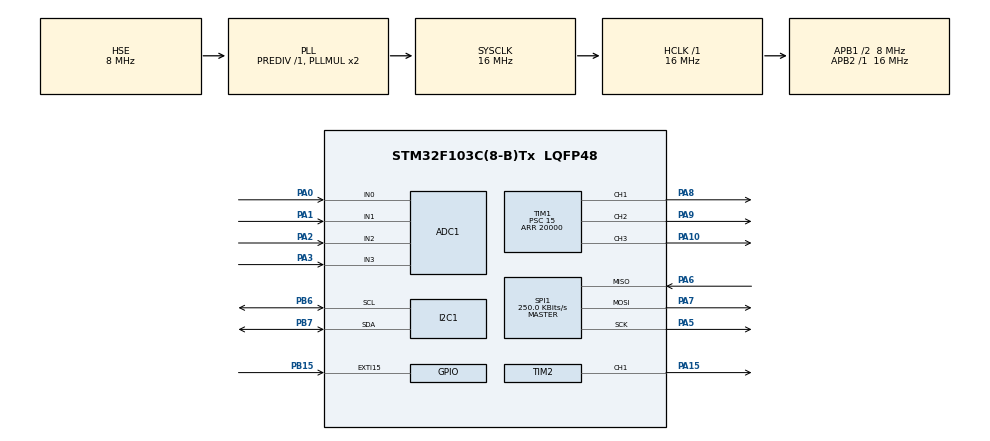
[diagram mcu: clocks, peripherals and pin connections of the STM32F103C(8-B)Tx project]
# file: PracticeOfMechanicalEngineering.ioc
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ADC1.Channel-0\#ChannelRegularConversion=ADC_CHANNEL_1
ADC1.NbrOfConversionFlag=1
ADC1.Rank-0\#ChannelRegularConversion=1
ADC1.SamplingTime-0\#ChannelRegularConversion=ADC_SAMPLETIME_1CYCLE_5
ADC1.master=1
I2C1.I2C_Mode=I2C_Fast
Mcu.Family=STM32F1
Mcu.Name=STM32F103C(8-B)Tx
Mcu.Package=LQFP48
NVIC.EXTI15_10_IRQn=true\:0\:0\:false\:false\:true\:true\:true\:true
NVIC.PriorityGroup=NVIC_PRIORITYGROUP_4
NVIC.SPI1_IRQn=true\:0\:0\:false\:false\:true\:true\:true\:true
NVIC.TIM3_IRQn=true\:0\:0\:false\:false\:true\:true\:true\:true
PA0-WKUP.Signal=ADCx_IN0
PA1.Signal=ADCx_IN1
PA10.Signal=S_TIM1_CH3
PA13.Mode=Serial_Wire
PA13.Signal=SYS_JTMS-SWDIO
PA14.Mode=Serial_Wire
PA14.Signal=SYS_JTCK-SWCLK
PA15.Signal=S_TIM2_CH1_ETR
PA2.Signal=ADCx_IN2
PA3.Signal=ADCx_IN3
PA5.Mode=Full_Duplex_Master
PA5.Signal=SPI1_SCK
PA6.Mode=Full_Duplex_Master
PA6.Signal=SPI1_MISO
PA7.Mode=Full_Duplex_Master
PA7.Signal=SPI1_MOSI
PA8.Signal=S_TIM1_CH1
PA9.Signal=S_TIM1_CH2
PB15.GPIO_ModeDefaultEXTI=GPIO_MODE_IT_RISING_FALLING
PB15.Signal=GPXTI15
PB6.Mode=I2C
PB6.Signal=I2C1_SCL
PB7.Mode=I2C
PB7.Signal=I2C1_SDA
PD0-OSC_IN.Mode=HSE-External-Oscillator
PD0-OSC_IN.Signal=RCC_OSC_IN
PD1-OSC_OUT.Mode=HSE-External-Oscillator
PD1-OSC_OUT.Signal=RCC_OSC_OUT
ProjectManager.HeapSize=0x200
ProjectManager.StackSize=0x400
ProjectManager.TargetToolchain=STM32CubeIDE
RCC.AHBFreq_Value=16000000
RCC.APB1CLKDivider=RCC_HCLK_DIV2
RCC.APB1Freq_Value=8000000
RCC.APB1TimFreq_Value=16000000
RCC.APB2Freq_Value=16000000
RCC.APB2TimFreq_Value=16000000
RCC.HCLKFreq_Value=16000000
RCC.PLLSourceVirtual=RCC_PLLSOURCE_HSE
RCC.SYSCLKFreq_VALUE=16000000
RCC.SYSCLKSource=RCC_SYSCLKSOURCE_PLLCLK
RCC.USBFreq_Value=16000000
SH.ADCx_IN0.0=ADC1_IN0,IN0
SH.ADCx_IN1.0=ADC1_IN1,IN1
SH.ADCx_IN2.0=ADC1_IN2,IN2
SH.ADCx_IN3.0=ADC1_IN3,IN3
SH.S_TIM1_CH1.0=TIM1_CH1,PWM Generation1 CH1
SH.S_TIM1_CH2.0=TIM1_CH2,PWM Generation2 CH2
SH.S_TIM1_CH3.0=TIM1_CH3,PWM Generation3 CH3
SH.S_TIM2_CH1_ETR.0=TIM2_CH1,PWM Generation1 CH1
SPI1.BaudRatePrescaler=SPI_BAUDRATEPRESCALER_64
SPI1.CalculateBaudRate=250.0 KBits/s
SPI1.DataSize=SPI_DATASIZE_8BIT
SPI1.Direction=SPI_DIRECTION_2LINES
SPI1.Mode=SPI_MODE_MASTER
SPI1.VirtualType=VM_MASTER
TIM1.Channel-PWM\ Generation1\ CH1=TIM_CHANNEL_1
TIM1.Channel-PWM\ Generation2\ CH2=TIM_CHANNEL_2
TIM1.Channel-PWM\ Generation3\ CH3=TIM_CHANNEL_3
TIM1.Period=20000
TIM1.Prescaler=15
TIM1.Pulse-PWM\ Generation1\ CH1=1000
TIM1.Pulse-PWM\ Generation2\ CH2=1000
TIM1.Pulse-PWM\ Generation3\ CH3=1000
TIM2.Channel-PWM\ Generation1\ CH1=TIM_CHANNEL_1
TIM2.Period=20000
TIM2.Prescaler=15
TIM2.Pulse-PWM\ Generation1\ CH1=1000
TIM3.Period=1000
TIM3.Prescaler=15
VP_TIM3_VS_ClockSourceINT.Mode=Internal
board=custom

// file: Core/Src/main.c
/* USER CODE BEGIN Header */
/**
 ******************************************************************************
 * @file           : main.c
 * @brief          : Main program body
 ******************************************************************************
 * @attention
 *
 * Copyright (c) 2022 STMicroelectronics.
 * All rights reserved.
 *
 * This software is licensed under terms that can be found in the LICENSE file
 * in the root directory of this software component.
 * If no LICENSE file comes with this software, it is provided AS-IS.
 *
 ******************************************************************************
 */
/* USER CODE END Header */
#include "main.h"

/* USER CODE BEGIN Includes */
#include "ftoa.h"
#include "math.h"
#include "fonts.h"
#include "ssd1306.h"
/* USER CODE END Includes */

/* USER CODE BEGIN PD */
// #define _USE_MATH_DEFINES
#define MIN_PULSE_LENGTH 20000 * 0.05 // Minimum pulse length : 1000µs
#define MAX_PULSE_LENGTH 20000 * 0.1  // Maximum pulse length : 2000µs
// #define CYCLE 46
#define UNIT_DISTANCE 102 / 155
#define R 5.5 / 2
#define REARTRACK 14.06
#define WHEELBASE 17.75

/* USER CODE END PD */

ADC_HandleTypeDef hadc1;

I2C_HandleTypeDef hi2c1;

SPI_HandleTypeDef hspi1;

TIM_HandleTypeDef htim1;
TIM_HandleTypeDef htim2;
TIM_HandleTypeDef htim3;

/* USER CODE BEGIN PV */
char buffer[5];
int value0 = -1; // ADC value 最右
int value1 = -1; // ADC value 右
int value2 = -1; // ADC value 左
int value3 = -1; // ADC value 最左
int position_encoderR = 0;
int statecode = 0b0000;
float disR;
float steering_degree;
int pulse_servo1 = 0; // Servo 1 PWM pulse
int pulse_servo2 = 0; // Servo 2 PWM pulse
int pulse_servo3 = 0; // Servo 3 PWM pulse
int pulse_BLDC = 0;   // PWM pulse
float degree_servo = 90;
int mode = 0; // ESC mode
float tmp = 0;
int timestart = 0;
int sec = 0;
int ms = 0;
int trigger = 0;
/* USER CODE END PV */

void SystemClock_Config(void);
static void MX_GPIO_Init(void);
static void MX_ADC1_Init(void);
static void MX_TIM1_Init(void);
static void MX_TIM2_Init(void);
static void MX_TIM3_Init(void);
static void MX_SPI1_Init(void);
static void MX_I2C1_Init(void);
/* USER CODE BEGIN PFP */
uint32_t Board_Get_ADCChannelValue(ADC_HandleTypeDef *hadc, uint32_t channel);
void HAL_TIM_PeriodElapsedCallback(TIM_HandleTypeDef *htim);
void HAL_GPIO_EXTI_Callback(uint16_t GPIO_Pin);
float distanceR();
float steeringDegree(float angle, int orientation);
static void writeServo(float angle);
static void setPower(float power);
static void brake();
static void unbrake();
static void TRS(); //微右轉
static void TRL(); //急右轉
static void TLS(); //微左轉
static void TLL(); //急左轉
static void DRS(); //微右飄
static void DRL(); //急右飄
static void DLS(); //微左飄
static void DLL(); //急左飄
static void waitBlack(int ch, float pw);
static void lineFollower(float operationTime, float power, int *tg);
static void lineFollowerBackward(float operationTime, float power, int *tg);
/* USER CODE END PFP */

int main(void)
{

  /* MCU Configuration--------------------------------------------------------*/

  /* Reset of all peripherals, Initializes the Flash interface and the Systick. */
  HAL_Init();

  /* USER CODE BEGIN Init */
  int tmp_time = sec;
  int tmp_dis = distanceR();
  int i = 1; // correct times
  int j = 1; // correct times
  int power_new = 0;
  pulse_servo1 = MIN_PULSE_LENGTH;
  pulse_servo2 = MIN_PULSE_LENGTH;
  pulse_servo3 = MIN_PULSE_LENGTH;
  pulse_BLDC = MIN_PULSE_LENGTH;
  /* USER CODE END Init */

  /* Configure the system clock */
  SystemClock_Config();

  /* Initialize all configured peripherals */
  MX_GPIO_Init();
  MX_ADC1_Init();
  MX_TIM1_Init();
  MX_TIM2_Init();
  MX_TIM3_Init();
  MX_SPI1_Init();
  MX_I2C1_Init();
  /* USER CODE BEGIN 2 */
  HAL_TIM_PWM_Start(&htim1, TIM_CHANNEL_1);                 // Servo 1
  HAL_TIM_PWM_Start(&htim1, TIM_CHANNEL_2);                 // Servo 2
  HAL_TIM_PWM_Start(&htim1, TIM_CHANNEL_3);                 // Servo 3
  HAL_TIM_PWM_Start(&htim2, TIM_CHANNEL_1);                 // 無刷馬達
  HAL_TIM_Base_Start_IT(&htim3);                            // 開啟中斷
  __HAL_TIM_SET_COMPARE(&htim2, TIM_CHANNEL_1, pulse_BLDC); // 無刷馬達下限轉速
  writeServo(90);
  brake();
  // unbrake();
  HAL_Delay(3000);
  SSD1306_Init();
  mode = 2;
  SSD1306_GotoXY(10, 10);                // goto 10, 10
  SSD1306_Puts("HELLO", &Font_11x18, 1); // print Hello
  SSD1306_GotoXY(10, 30);
  SSD1306_Puts("WORLD !!", &Font_11x18, 1);
  SSD1306_UpdateScreen();
  /* USER CODE END 2 */

  /* Infinite loop */
  /* USER CODE BEGIN WHILE */
  while (1)
  {
    switch (mode)
    {
    case 0:
      setPower(0);
      break;

    case 1:
      setPower(10);
      break;

    case 2:
      // 起步
      setPower(6);
      HAL_Delay(2000);

      // 第 1 段，轉彎至第一循跡線
      position_encoderR = 0;
      degree_servo = 77.5;
      writeServo(degree_servo); // 18.7-> 9.35 -> 14.035 -> 13.5 -> 12.5
      unbrake();
      SSD1306_Clear();
      while (steeringDegree(degree_servo, 1) < 90)
      {
      }
      SSD1306_Clear();
      ftoa(steeringDegree(degree_servo, 1), buffer, 2);
      SSD1306_GotoXY(0, 0);
      SSD1306_Puts(buffer, &Font_16x26, 1);
      SSD1306_UpdateScreen();

      // 第 4 段，第一段循跡
      lineFollower(4, 6, &trigger);
      trigger = 0;
      while (trigger < 1)
      {
        lineFollower(100, 25, &trigger); // 20度：25｜25度 小電池：31 大電池：32
      }

      // // 第 5 段，變換車道
      degree_servo = 60;
      writeServo(degree_servo + 1);
      pulse_servo2 = 500 + 2000 * degree_servo / 180;
      pulse_servo3 = 500 + 2000 * degree_servo / 180;
      __HAL_TIM_SET_COMPARE(&htim1, TIM_CHANNEL_2, pulse_servo2);
      __HAL_TIM_SET_COMPARE(&htim1, TIM_CHANNEL_3, pulse_servo3);
      setPower(28.5); // 大顆電池 20度：28.5 25度：37｜小顆電池 20度：24 25度：32.5｜加入調速-> 基準值24，上限45
      HAL_Delay(500);
      waitBlack(2, 28.5); // 大顆電池 20度：28.5 25度：37｜小顆電池 20度：24 25度：32.5｜加入調速-> 基準值24，上限45

      // 第 6 段，修正路徑 第 7 段，第二循跡線上坡
      writeServo(90);
      trigger = 0;
      tmp_time = sec;
      tmp_dis = distanceR();
      i = 1; // correct times
      j = 1; // correct times
      unbrake();
      SSD1306_Clear();
      while (trigger < 2)
      {
        lineFollower(100, 31, &trigger); // 大顆電池 20度：31 25度：38|小顆電池 20度：29 25度：35
        if (sec - tmp_time > 1)
        {
          tmp_time = sec;
          if (distanceR() - tmp_dis < 12)
          {
            setPower(31 + 2 * i); // 大顆電池 20度：31 25度：38|小顆電池 20度：29 25度：35
            power_new = 31 + 2 * i;
            i++;
          }
          if (distanceR() - tmp_dis > 30)
          {
            setPower(31 - 0.01 * j); // 大顆電池 20度：31 25度：38|小顆電池 20度：29 25度：35
            power_new = 31 + 2 * j;
            j++;
          }
          tmp_dis = distanceR();
        }
      }
      position_encoderR = 0;
      tmp_time = sec;
      tmp_dis = distanceR();
      i = 1; // correct times
      j = 1; // correct times
      SSD1306_Clear();
      while (position_encoderR < 30) //(20 / (102 / 155))？？？
      {
        itoa(position_encoderR, buffer, 10);
        SSD1306_GotoXY(0, 0);
        SSD1306_Puts(buffer, &Font_11x18, 1);
        SSD1306_UpdateScreen();
        if (sec - tmp_time > 1)
        {
          tmp_time = sec;
          if (distanceR() - tmp_dis < 12)
          {
            setPower(power_new + 2 * i);
            i++;
          }
          if (distanceR() - tmp_dis > 30)
          {
            setPower(power_new - 0.01 * j);
            j++;
          }
          tmp_dis = distanceR();
        }
      }
      // 第 8 段，第一停止區
      setPower(0);
      brake();
      HAL_Delay(1000);
      setPower(22.5); // 大電池 20度：22.5 25度：31|小電池 20度：21 25度：28
      HAL_Delay(2500);

      // 第 9 段，下坡循跡至第二停止區
      unbrake();
      sec = 0;
      tmp_time = sec;
      tmp_dis = distanceR();
      i = 1; // correct times
      j = 1; // correct times
      position_encoderR = 0;
      SSD1306_Clear();
      while (position_encoderR < 225 || sec < 6)
      {
        lineFollowerBackward(100, 22.5, &trigger); // 大電池 20度：22.5 25度：31|小電池 20度：22 25度：27.5
        itoa(position_encoderR, buffer, 10);
        SSD1306_GotoXY(0, 0);
        SSD1306_Puts(buffer, &Font_11x18, 1);
        SSD1306_UpdateScreen();
        if (sec - tmp_time > 1)
        {
          tmp_time = sec;
          if (distanceR() - tmp_dis < 25)
          {
            setPower(22.5 - 1 * i); // 大電池 20度：22.5 25度：31|小電池 20度：22 25度：27.5
            i++;
          }
          if (distanceR() - tmp_dis > 30)
          {
            setPower(22.5 + 0.1 * j); // 大電池 20度：22.5 25度：31|小電池 20度：22 25度：27.5
            j++;
          }
          tmp_dis = distanceR();
        }
      }
      // lineFollowerBackward(3, 20, &trigger); // 大電池 20度：22.5 25度：31|小電池 20度：22 25度：27.5
      position_encoderR = 0;
      SSD1306_Clear();
      while (position_encoderR < 40)
      {
        lineFollowerBackward(100, 0, &trigger);
        itoa(position_encoderR, buffer, 10);
        SSD1306_GotoXY(0, 0);
        SSD1306_Puts(buffer, &Font_11x18, 1);
        SSD1306_UpdateScreen();
      }
      brake();
      mode = 0;
      break;

    case 3: // 伺服測試
      writeServo(120);
      break;

    case 4: // 無刷測試
      HAL_Delay(3000);
      setPower(13);
      // BLDC_test();
      break;

    case 5: // 類比輸入
      HAL_ADC_Start(&hadc1);
      HAL_ADC_PollForConversion(&hadc1, 1);
      value0 = Board_Get_ADCChannelValue(&hadc1, 0);
      value1 = Board_Get_ADCChannelValue(&hadc1, 1);
      value2 = Board_Get_ADCChannelValue(&hadc1, 2);
      value3 = Board_Get_ADCChannelValue(&hadc1, 3);
      HAL_Delay(500);
      break;

    case 6: // Encoder
      //             CW --->
      // A          ¯|___|¯¯¯¯|___|¯¯¯¯
      // Interrupts  ^   ^    ^   ^
      // B          ¯¯¯|___|¯¯¯¯¯|___|¯
      // Interrupts    ^   ^     ^   ^
      //             CCW <---
      break;
    }

    /* USER CODE END WHILE */

  }
}

void SystemClock_Config(void)
{
  RCC_OscInitTypeDef RCC_OscInitStruct = {0};
  RCC_ClkInitTypeDef RCC_ClkInitStruct = {0};
  RCC_PeriphCLKInitTypeDef PeriphClkInit = {0};

  /** Initializes the RCC Oscillators according to the specified parameters
   * in the RCC_OscInitTypeDef structure.
   */
  RCC_OscInitStruct.OscillatorType = RCC_OSCILLATORTYPE_HSE;
  RCC_OscInitStruct.HSEState = RCC_HSE_ON;
  RCC_OscInitStruct.HSEPredivValue = RCC_HSE_PREDIV_DIV1;
  RCC_OscInitStruct.HSIState = RCC_HSI_ON;
  RCC_OscInitStruct.PLL.PLLState = RCC_PLL_ON;
  RCC_OscInitStruct.PLL.PLLSource = RCC_PLLSOURCE_HSE;
  RCC_OscInitStruct.PLL.PLLMUL = RCC_PLL_MUL2;
  if (HAL_RCC_OscConfig(&RCC_OscInitStruct) != HAL_OK)
  {
    Error_Handler();
  }

  /** Initializes the CPU, AHB and APB buses clocks
   */
  RCC_ClkInitStruct.ClockType = RCC_CLOCKTYPE_HCLK | RCC_CLOCKTYPE_SYSCLK | RCC_CLOCKTYPE_PCLK1 | RCC_CLOCKTYPE_PCLK2;
  RCC_ClkInitStruct.SYSCLKSource = RCC_SYSCLKSOURCE_PLLCLK;
  RCC_ClkInitStruct.AHBCLKDivider = RCC_SYSCLK_DIV1;
  RCC_ClkInitStruct.APB1CLKDivider = RCC_HCLK_DIV2;
  RCC_ClkInitStruct.APB2CLKDivider = RCC_HCLK_DIV1;

  if (HAL_RCC_ClockConfig(&RCC_ClkInitStruct, FLASH_LATENCY_0) != HAL_OK)
  {
    Error_Handler();
  }
  PeriphClkInit.PeriphClockSelection = RCC_PERIPHCLK_ADC;
  PeriphClkInit.AdcClockSelection = RCC_ADCPCLK2_DIV2;
  if (HAL_RCCEx_PeriphCLKConfig(&PeriphClkInit) != HAL_OK)
  {
    Error_Handler();
  }
}

static void MX_ADC1_Init(void)
{

  ADC_ChannelConfTypeDef sConfig = {0};

  /** Common config
   */
  hadc1.Instance = ADC1;
  hadc1.Init.ScanConvMode = ADC_SCAN_DISABLE;
  hadc1.Init.ContinuousConvMode = DISABLE;
  hadc1.Init.DiscontinuousConvMode = DISABLE;
  hadc1.Init.ExternalTrigConv = ADC_SOFTWARE_START;
  hadc1.Init.DataAlign = ADC_DATAALIGN_RIGHT;
  hadc1.Init.NbrOfConversion = 1;
  if (HAL_ADC_Init(&hadc1) != HAL_OK)
  {
    Error_Handler();
  }

  /** Configure Regular Channel
   */
  sConfig.Channel = ADC_CHANNEL_1;
  sConfig.Rank = ADC_REGULAR_RANK_1;
  sConfig.SamplingTime = ADC_SAMPLETIME_1CYCLE_5;
  if (HAL_ADC_ConfigChannel(&hadc1, &sConfig) != HAL_OK)
  {
    Error_Handler();
  }
  /* USER CODE BEGIN ADC1_Init 2 */

  /**Common config
   */
  hadc1.Instance = ADC1;
  //  hadc1.Init.ClockPrescaler = ADC_CLOCK_ASYNC_DIV8;
  hadc1.Init.ScanConvMode = ADC_SCAN_DISABLE; //扫描（多通道）模式=ENABLE、单次（单通道）模式=DISABLE 因为同时只采集一个通道 所以设置为DISABLE
                                              //  hadc1.Init.EOCSelection = ADC_EOC_SINGLE_CONV;
                                              //  hadc1.Init.LowPowerAutoWait = DISABLE;
  hadc1.Init.ContinuousConvMode = DISABLE;    //连续=ENABLE、单次=DISABLE
  hadc1.Init.NbrOfConversion = 1;
  hadc1.Init.DiscontinuousConvMode = DISABLE;
  hadc1.Init.NbrOfDiscConversion = 1;
  hadc1.Init.ExternalTrigConv = ADC_SOFTWARE_START;
  //  hadc1.Init.ExternalTrigConvEdge = ADC_EXTERNALTRIGCONVEDGE_NONE;
  //  hadc1.Init.ConversionDataManagement = ADC_CONVERSIONDATA_DR;
  //  hadc1.Init.Overrun = ADC_OVR_DATA_OVERWRITTEN;
  //  hadc1.Init.LeftBitShift = ADC_LEFTBITSHIFT_NONE;
  //  hadc1.Init.BoostMode = DISABLE;
  //  hadc1.Init.OversamplingMode = DISABLE;
  if (HAL_ADC_Init(&hadc1) != HAL_OK)
  {
    Error_Handler();
  }

  /**Configure Regular Channel
   */
  sConfig.Channel = ADC_CHANNEL_1;
  sConfig.Rank = ADC_REGULAR_RANK_1;
  sConfig.SamplingTime = ADC_SAMPLETIME_1CYCLE_5;
  //  sConfig.SingleDiff = ADC_SINGLE_ENDED;
  //  sConfig.OffsetNumber = ADC_OFFSET_NONE;
  //  sConfig.Offset = 0;
  if (HAL_ADC_ConfigChannel(&hadc1, &sConfig) != HAL_OK)
  {
    Error_Handler();
  }
  /* USER CODE END ADC1_Init 2 */
}

static void MX_I2C1_Init(void)
{

  hi2c1.Instance = I2C1;
  hi2c1.Init.ClockSpeed = 400000;
  hi2c1.Init.DutyCycle = I2C_DUTYCYCLE_2;
  hi2c1.Init.OwnAddress1 = 0;
  hi2c1.Init.AddressingMode = I2C_ADDRESSINGMODE_7BIT;
  hi2c1.Init.DualAddressMode = I2C_DUALADDRESS_DISABLE;
  hi2c1.Init.OwnAddress2 = 0;
  hi2c1.Init.GeneralCallMode = I2C_GENERALCALL_DISABLE;
  hi2c1.Init.NoStretchMode = I2C_NOSTRETCH_DISABLE;
  if (HAL_I2C_Init(&hi2c1) != HAL_OK)
  {
    Error_Handler();
  }
}

static void MX_SPI1_Init(void)
{

  /* SPI1 parameter configuration*/
  hspi1.Instance = SPI1;
  hspi1.Init.Mode = SPI_MODE_MASTER;
  hspi1.Init.Direction = SPI_DIRECTION_2LINES;
  hspi1.Init.DataSize = SPI_DATASIZE_8BIT;
  hspi1.Init.CLKPolarity = SPI_POLARITY_LOW;
  hspi1.Init.CLKPhase = SPI_PHASE_1EDGE;
  hspi1.Init.NSS = SPI_NSS_SOFT;
  hspi1.Init.BaudRatePrescaler = SPI_BAUDRATEPRESCALER_64;
  hspi1.Init.FirstBit = SPI_FIRSTBIT_MSB;
  hspi1.Init.TIMode = SPI_TIMODE_DISABLE;
  hspi1.Init.CRCCalculation = SPI_CRCCALCULATION_DISABLE;
  hspi1.Init.CRCPolynomial = 10;
  if (HAL_SPI_Init(&hspi1) != HAL_OK)
  {
    Error_Handler();
  }
}

static void MX_TIM1_Init(void)
{

  TIM_MasterConfigTypeDef sMasterConfig = {0};
  TIM_OC_InitTypeDef sConfigOC = {0};
  TIM_BreakDeadTimeConfigTypeDef sBreakDeadTimeConfig = {0};

  htim1.Instance = TIM1;
  htim1.Init.Prescaler = 15;
  htim1.Init.CounterMode = TIM_COUNTERMODE_UP;
  htim1.Init.Period = 20000;
  htim1.Init.ClockDivision = TIM_CLOCKDIVISION_DIV1;
  htim1.Init.RepetitionCounter = 0;
  htim1.Init.AutoReloadPreload = TIM_AUTORELOAD_PRELOAD_DISABLE;
  if (HAL_TIM_PWM_Init(&htim1) != HAL_OK)
  {
    Error_Handler();
  }
  sMasterConfig.MasterOutputTrigger = TIM_TRGO_RESET;
  sMasterConfig.MasterSlaveMode = TIM_MASTERSLAVEMODE_DISABLE;
  if (HAL_TIMEx_MasterConfigSynchronization(&htim1, &sMasterConfig) != HAL_OK)
  {
    Error_Handler();
  }
  sConfigOC.OCMode = TIM_OCMODE_PWM1;
  sConfigOC.Pulse = 1000;
  sConfigOC.OCPolarity = TIM_OCPOLARITY_HIGH;
  sConfigOC.OCNPolarity = TIM_OCNPOLARITY_HIGH;
  sConfigOC.OCFastMode = TIM_OCFAST_DISABLE;
  sConfigOC.OCIdleState = TIM_OCIDLESTATE_RESET;
  sConfigOC.OCNIdleState = TIM_OCNIDLESTATE_RESET;
  if (HAL_TIM_PWM_ConfigChannel(&htim1, &sConfigOC, TIM_CHANNEL_1) != HAL_OK)
  {
    Error_Handler();
  }
  if (HAL_TIM_PWM_ConfigChannel(&htim1, &sConfigOC, TIM_CHANNEL_2) != HAL_OK)
  {
    Error_Handler();
  }
  if (HAL_TIM_PWM_ConfigChannel(&htim1, &sConfigOC, TIM_CHANNEL_3) != HAL_OK)
  {
    Error_Handler();
  }
  sBreakDeadTimeConfig.OffStateRunMode = TIM_OSSR_DISABLE;
  sBreakDeadTimeConfig.OffStateIDLEMode = TIM_OSSI_DISABLE;
  sBreakDeadTimeConfig.LockLevel = TIM_LOCKLEVEL_OFF;
  sBreakDeadTimeConfig.DeadTime = 0;
  sBreakDeadTimeConfig.BreakState = TIM_BREAK_DISABLE;
  sBreakDeadTimeConfig.BreakPolarity = TIM_BREAKPOLARITY_HIGH;
  sBreakDeadTimeConfig.AutomaticOutput = TIM_AUTOMATICOUTPUT_DISABLE;
  if (HAL_TIMEx_ConfigBreakDeadTime(&htim1, &sBreakDeadTimeConfig) != HAL_OK)
  {
    Error_Handler();
  }
  HAL_TIM_MspPostInit(&htim1);
}

static void MX_TIM2_Init(void)
{

  TIM_MasterConfigTypeDef sMasterConfig = {0};
  TIM_OC_InitTypeDef sConfigOC = {0};

  htim2.Instance = TIM2;
  htim2.Init.Prescaler = 15;
  htim2.Init.CounterMode = TIM_COUNTERMODE_UP;
  htim2.Init.Period = 20000;
  htim2.Init.ClockDivision = TIM_CLOCKDIVISION_DIV1;
  htim2.Init.AutoReloadPreload = TIM_AUTORELOAD_PRELOAD_DISABLE;
  if (HAL_TIM_PWM_Init(&htim2) != HAL_OK)
  {
    Error_Handler();
  }
  sMasterConfig.MasterOutputTrigger = TIM_TRGO_RESET;
  sMasterConfig.MasterSlaveMode = TIM_MASTERSLAVEMODE_DISABLE;
  if (HAL_TIMEx_MasterConfigSynchronization(&htim2, &sMasterConfig) != HAL_OK)
  {
    Error_Handler();
  }
  sConfigOC.OCMode = TIM_OCMODE_PWM1;
  sConfigOC.Pulse = 1000;
  sConfigOC.OCPolarity = TIM_OCPOLARITY_HIGH;
  sConfigOC.OCFastMode = TIM_OCFAST_DISABLE;
  if (HAL_TIM_PWM_ConfigChannel(&htim2, &sConfigOC, TIM_CHANNEL_1) != HAL_OK)
  {
    Error_Handler();
  }
  HAL_TIM_MspPostInit(&htim2);
}

static void MX_TIM3_Init(void)
{

  TIM_ClockConfigTypeDef sClockSourceConfig = {0};
  TIM_MasterConfigTypeDef sMasterConfig = {0};

  /* USER CODE BEGIN TIM3_Init 1 */

  htim3.Instance = TIM3;
  /* USER CODE END TIM3_Init 1 */
  htim3.Instance = TIM3;
  htim3.Init.Prescaler = 15;
  htim3.Init.CounterMode = TIM_COUNTERMODE_UP;
  htim3.Init.Period = 1000;
  htim3.Init.ClockDivision = TIM_CLOCKDIVISION_DIV1;
  htim3.Init.AutoReloadPreload = TIM_AUTORELOAD_PRELOAD_DISABLE;
  if (HAL_TIM_Base_Init(&htim3) != HAL_OK)
  {
    Error_Handler();
  }
  sClockSourceConfig.ClockSource = TIM_CLOCKSOURCE_INTERNAL;
  if (HAL_TIM_ConfigClockSource(&htim3, &sClockSourceConfig) != HAL_OK)
  {
    Error_Handler();
  }
  sMasterConfig.MasterOutputTrigger = TIM_TRGO_RESET;
  sMasterConfig.MasterSlaveMode = TIM_MASTERSLAVEMODE_DISABLE;
  if (HAL_TIMEx_MasterConfigSynchronization(&htim3, &sMasterConfig) != HAL_OK)
  {
    Error_Handler();
  }
}

static void MX_GPIO_Init(void)
{
  GPIO_InitTypeDef GPIO_InitStruct = {0};

  /* GPIO Ports Clock Enable */
  __HAL_RCC_GPIOD_CLK_ENABLE();
  __HAL_RCC_GPIOA_CLK_ENABLE();
  __HAL_RCC_GPIOB_CLK_ENABLE();

  /*Configure GPIO pin : PB15 */
  GPIO_InitStruct.Pin = GPIO_PIN_15;
  GPIO_InitStruct.Mode = GPIO_MODE_IT_RISING_FALLING;
  GPIO_InitStruct.Pull = GPIO_NOPULL;
  HAL_GPIO_Init(GPIOB, &GPIO_InitStruct);

  /* EXTI interrupt init*/
  HAL_NVIC_SetPriority(EXTI15_10_IRQn, 0, 0);
  HAL_NVIC_EnableIRQ(EXTI15_10_IRQn);
}

/* USER CODE BEGIN 4 */
uint32_t Board_Get_ADCChannelValue(ADC_HandleTypeDef *hadc, uint32_t channel)
{
  ADC_ChannelConfTypeDef ADC_ChanConf;

  ADC_ChanConf.Channel = channel;
  ADC_ChanConf.Rank = ADC_REGULAR_RANK_1;
  ADC_ChanConf.SamplingTime = ADC_SAMPLETIME_1CYCLE_5;
  //    ADC_ChanConf.SingleDiff = ADC_SINGLE_ENDED;
  //    ADC_ChanConf.OffsetNumber = ADC_OFFSET_NONE;
  //    ADC_ChanConf.Offset = 0;

  HAL_ADC_ConfigChannel(hadc, &ADC_ChanConf);

  HAL_ADC_Start(hadc);
  HAL_ADC_PollForConversion(hadc, 10); //轮询转换
  return (uint16_t)HAL_ADC_GetValue(hadc);
}

void HAL_TIM_PeriodElapsedCallback(TIM_HandleTypeDef *htim)
{
  if (htim->Instance == TIM3)
  {
    ms++;
    if (ms == 1000)
    {
      ms = 0;
      sec++;
    }
  }
}

void HAL_GPIO_EXTI_Callback(uint16_t GPIO_Pin)
{
  position_encoderR++;
}

float distanceR()
{
  // disR = position_encoderR / CYCLE * 2 * M_PI * R;
  disR = position_encoderR * UNIT_DISTANCE;
  return disR;
}

float steeringDegree(float angle, int orientation)
{
  float result;
  if (orientation == 1) //左轉
  {
    angle = 90 - angle + 5;
    result = (distanceR() / (WHEELBASE / tan(angle * M_PI / 180) + 7.03)) / M_PI * 180;
  }
  if (orientation == 0) //右
  {
    angle = angle - 90;
    result = (distanceR() / (WHEELBASE / tan(angle * M_PI / 180) - 7.03)) / M_PI * 180;
  }

  return result;
}

static void writeServo(float angle)
{
  pulse_servo1 = 500 + 2000 * angle / 180;
  __HAL_TIM_SET_COMPARE(&htim1, TIM_CHANNEL_1, pulse_servo1);
}

static void setPower(float power)
{
  if (power < 55)
  {
    pulse_BLDC = (MAX_PULSE_LENGTH - MIN_PULSE_LENGTH) * power / 100 + MIN_PULSE_LENGTH;
    __HAL_TIM_SET_COMPARE(&htim2, TIM_CHANNEL_1, pulse_BLDC);
  }
  else
  {
    (MAX_PULSE_LENGTH - MIN_PULSE_LENGTH) * 40 / 100 + MIN_PULSE_LENGTH;
    __HAL_TIM_SET_COMPARE(&htim2, TIM_CHANNEL_1, pulse_BLDC);
  }
}

static void brake()
{
  pulse_servo2 = 500 + 2000 * (180 - 45) / 180;
  pulse_servo3 = 500 + 2000 * 45 / 180;
  __HAL_TIM_SET_COMPARE(&htim1, TIM_CHANNEL_2, pulse_servo2);
  __HAL_TIM_SET_COMPARE(&htim1, TIM_CHANNEL_3, pulse_servo3);
}

static void unbrake()
{
  pulse_servo2 = 500 + 2000 * 90 / 180;
  pulse_servo3 = 500 + 2000 * 90 / 180;
  __HAL_TIM_SET_COMPARE(&htim1, TIM_CHANNEL_2, pulse_servo2);
  __HAL_TIM_SET_COMPARE(&htim1, TIM_CHANNEL_3, pulse_servo3);
}

static void TRS(void) //微右轉
{
  writeServo(105); // 112.5
}

static void TRL(void) //急右轉
{
  writeServo(112.5); // 135
}

static void TLS(void) //微左轉
{
  writeServo(75); // 67.5
}

static void TLL(void) //急左轉
{
  writeServo(67.5); // 45
}

static void DRS(void) //微右飄
{
  pulse_servo2 = 500 + 2000 * 100 / 180;
  pulse_servo3 = pulse_servo2;
  __HAL_TIM_SET_COMPARE(&htim1, TIM_CHANNEL_2, pulse_servo2);
  __HAL_TIM_SET_COMPARE(&htim1, TIM_CHANNEL_3, pulse_servo3);
  writeServo(100);
}

static void DRL(void) //急右飄
{
  pulse_servo2 = 500 + 2000 * 105 / 180;
  pulse_servo3 = pulse_servo2;
  __HAL_TIM_SET_COMPARE(&htim1, TIM_CHANNEL_2, pulse_servo2);
  __HAL_TIM_SET_COMPARE(&htim1, TIM_CHANNEL_3, pulse_servo3);
  writeServo(105);
}

static void DLS(void) //微左飄
{
  pulse_servo2 = 500 + 2000 * 80 / 180;
  pulse_servo3 = pulse_servo2;
  __HAL_TIM_SET_COMPARE(&htim1, TIM_CHANNEL_2, pulse_servo2);
  __HAL_TIM_SET_COMPARE(&htim1, TIM_CHANNEL_3, pulse_servo3);
  writeServo(80);
}

static void DLL(void) //急左飄
{
  pulse_servo2 = 500 + 2000 * 75 / 180;
  pulse_servo3 = pulse_servo2;
  __HAL_TIM_SET_COMPARE(&htim1, TIM_CHANNEL_2, pulse_servo2);
  __HAL_TIM_SET_COMPARE(&htim1, TIM_CHANNEL_3, pulse_servo3);
  writeServo(75);
}

static void waitBlack(int ch, float pw)
{
  int tmp_time = sec;
  int tmp_dis = distanceR();
  int i = 1; // correct times
  int j = 1; // correct times
  HAL_ADC_Start(&hadc1);
  HAL_ADC_PollForConversion(&hadc1, 1);
  int value = Board_Get_ADCChannelValue(&hadc1, ch);
  while (value < 1000) //變成白色之前狀態不變
  {
    HAL_ADC_Start(&hadc1);
    HAL_ADC_PollForConversion(&hadc1, 1);
    value = Board_Get_ADCChannelValue(&hadc1, ch);
    if (sec - tmp_time > 1)
    {
      tmp_time = sec;
      if (distanceR() - tmp_dis < 12)
      {
        setPower(pw + 2 * i);
        i++;
      }
      if (distanceR() - tmp_dis > 30)
      {
        setPower(pw - 0.01 * j);
        j++;
      }
      tmp_dis = distanceR();
    }
  }
}

static void lineFollower(float operationTime, float power, int *tg)
{
  setPower(power);
  if (operationTime != 100)
  {
    sec = 0;
  }
  while (sec <= operationTime)
  {
    statecode = 0;
    HAL_ADC_Start(&hadc1);
    HAL_ADC_PollForConversion(&hadc1, 1);
    value0 = Board_Get_ADCChannelValue(&hadc1, 0);
    value1 = Board_Get_ADCChannelValue(&hadc1, 1);
    value2 = Board_Get_ADCChannelValue(&hadc1, 2);
    value3 = Board_Get_ADCChannelValue(&hadc1, 3);

    if (value0 > 1000)
      statecode = statecode | 0b0001; // 8
    if (value1 > 1000)
      statecode = statecode | 0b0010; // 4
    if (value2 > 1000)
      statecode = statecode | 0b0100; // 2
    if (value3 > 1000)
      statecode = statecode | 0b1000; // 1

    tmp = (statecode & 0b1000) >> 3;
    tmp += (statecode & 0b0100) >> 2;
    tmp += (statecode & 0b0010) >> 1;
    tmp += (statecode & 0b0001);
    if (tmp > 2)
    {
      statecode = 0b1111;
    }

    switch (statecode)
    {
    case 0b1000:
      TLL(); //急左轉
      break;
    case 0b0100:
      TLS(); //微左轉
      break;
    case 0b0010:
      TRS(); //微右轉
      break;
    case 0b0001:
      TRL(); //急右轉
      break;
    case 0b0000:
      writeServo(90);
      break;
    case 0b1111:
      writeServo(90);
      while (tmp > 1) //變成白色之前狀態不變
      {
        statecode = 0;
        HAL_ADC_Start(&hadc1);
        HAL_ADC_PollForConversion(&hadc1, 1);
        value0 = Board_Get_ADCChannelValue(&hadc1, 0);
        value1 = Board_Get_ADCChannelValue(&hadc1, 1);
        value2 = Board_Get_ADCChannelValue(&hadc1, 2);
        value3 = Board_Get_ADCChannelValue(&hadc1, 3);

        if (value0 > 1000)
          statecode = statecode | 0b0001; // 1
        if (value1 > 1000)
          statecode = statecode | 0b0010; // 2
        if (value2 > 1000)
          statecode = statecode | 0b0100; // 4
        if (value3 > 1000)
          statecode = statecode | 0b1000; // 8

        tmp = (statecode & 0b1000) >> 3;
        tmp += (statecode & 0b0100) >> 2;
        tmp += (statecode & 0b0010) >> 1;
        tmp += (statecode & 0b0001);
      }
      *tg += 1;
      break;
    }

    if (operationTime == 100)
      break;
  }
}

static void lineFollowerBackward(float operationTime, float power, int *tg)
{
  setPower(power);
  if (operationTime != 100)
  {
    sec = 0;
  }
  while (sec <= operationTime)
  {
    statecode = 0;
    HAL_ADC_Start(&hadc1);
    HAL_ADC_PollForConversion(&hadc1, 1);
    value0 = Board_Get_ADCChannelValue(&hadc1, 0);
    value1 = Board_Get_ADCChannelValue(&hadc1, 1);
    value2 = Board_Get_ADCChannelValue(&hadc1, 2);
    value3 = Board_Get_ADCChannelValue(&hadc1, 3);

    if (value0 > 1000)
      statecode = statecode | 0b1000; // 8
    if (value1 > 1000)
      statecode = statecode | 0b0100; // 4
    if (value2 > 1000)
      statecode = statecode | 0b0010; // 2
    if (value3 > 1000)
      statecode = statecode | 0b0001; // 1

    tmp = (statecode & 0b1000) >> 3;
    tmp += (statecode & 0b0100) >> 2;
    tmp += (statecode & 0b0010) >> 1;
    tmp += (statecode & 0b0001);
    if (tmp > 2)
    {
      statecode = 0b1111;
    }

    switch (statecode)
    {
    case 0b1000:
      DLL(); //急左飄
      break;
    case 0b0100:
      DLS(); //微左飄
      break;
    case 0b0010:
      DRS(); //微右飄
      break;
    case 0b0001:
      DRL(); //急右飄
      break;
    case 0b0000:
      unbrake();
      writeServo(90);
      break;
    case 0b1111:
      writeServo(90);
      while (tmp > 1) //變成白色之前狀態不變
      {
        statecode = 0;
        HAL_ADC_Start(&hadc1);
        HAL_ADC_PollForConversion(&hadc1, 1);
        value0 = Board_Get_ADCChannelValue(&hadc1, 0);
        value1 = Board_Get_ADCChannelValue(&hadc1, 1);
        value2 = Board_Get_ADCChannelValue(&hadc1, 2);
        value3 = Board_Get_ADCChannelValue(&hadc1, 3);

        if (value0 > 1000)
          statecode = statecode | 0b1000; // 8
        if (value1 > 1000)
          statecode = statecode | 0b0100; // 4
        if (value2 > 1000)
          statecode = statecode | 0b0010; // 2
        if (value3 > 1000)
          statecode = statecode | 0b0001; // 1

        tmp = (statecode & 0b1000) >> 3;
        tmp += (statecode & 0b0100) >> 2;
        tmp += (statecode & 0b0010) >> 1;
        tmp += (statecode & 0b0001);
      }
      *tg += 1;
      break;
    }

    if (operationTime == 100)
      break;
  }
}
/* USER CODE END 4 */

void Error_Handler(void)
{
  __disable_irq();
  while (1)
  {
  }
}
